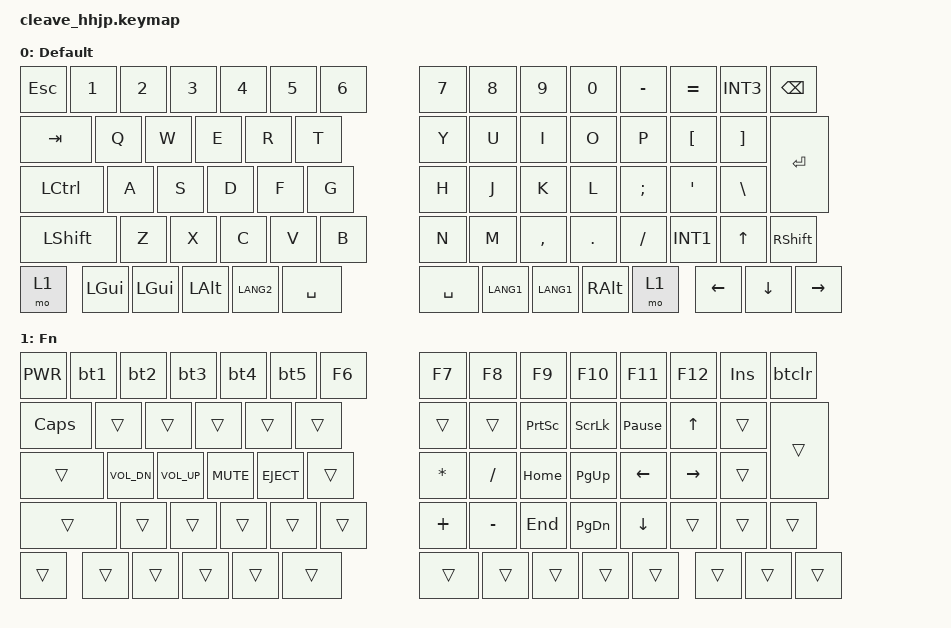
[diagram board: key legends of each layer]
/*
 * Copyright (c) 2025
 * SPDX-License-Identifier: MIT
 */

#include <behaviors.dtsi>
#include <dt-bindings/zmk/keys.h>
#include <dt-bindings/zmk/bt.h>

/ {
	chosen {
		zmk,physical-layout = &physical_layout;
	};

	key_physical_attrs: key_physical_attrs {
		compatible = "zmk,key-physical-attrs";
		#key-cells = <7>;
	};

	physical_layout: physical_layout {
		compatible = "zmk,physical-layout";
		display-name = "CLEAVE HHJP";

		transform = <&default_transform>;

		keys  // 70 keys: width, height, x, y, r, rx, ry (in centi-keyunits, 1U = 100)
			// Row 0: ESC + 6 keys (left) + gap 2U + 8 keys (right)
			= <&key_physical_attrs 100 100   0   0 0 0 0>  // ESC
			, <&key_physical_attrs 100 100 100   0 0 0 0>  // 1
			, <&key_physical_attrs 100 100 200   0 0 0 0>  // 2
			, <&key_physical_attrs 100 100 300   0 0 0 0>  // 3
			, <&key_physical_attrs 100 100 400   0 0 0 0>  // 4
			, <&key_physical_attrs 100 100 500   0 0 0 0>  // 5
			, <&key_physical_attrs 100 100 600   0 0 0 0>  // 6
			, <&key_physical_attrs 100 100 800   0 0 0 0>  // 7 (gap 2U = 200)
			, <&key_physical_attrs 100 100 900   0 0 0 0>  // 8
			, <&key_physical_attrs 100 100 1000  0 0 0 0>  // 9
			, <&key_physical_attrs 100 100 1100  0 0 0 0>  // 0
			, <&key_physical_attrs 100 100 1200  0 0 0 0>  // -
			, <&key_physical_attrs 100 100 1300  0 0 0 0>  // ^
			, <&key_physical_attrs 100 100 1400  0 0 0 0>  // ¥
			, <&key_physical_attrs 100 100 1500  0 0 0 0>  // BS
			// Row 1: Tab(1.5U) + 5 keys (left) + gap 2U + 7 keys + Enter(1.25U×2h) (right)
			, <&key_physical_attrs 150 100   0 100 0 0 0>  // Tab (1.5U = 150)
			, <&key_physical_attrs 100 100 150 100 0 0 0>  // Q
			, <&key_physical_attrs 100 100 250 100 0 0 0>  // W
			, <&key_physical_attrs 100 100 350 100 0 0 0>  // E
			, <&key_physical_attrs 100 100 450 100 0 0 0>  // R
			, <&key_physical_attrs 100 100 550 100 0 0 0>  // T
			, <&key_physical_attrs 100 100 800 100 0 0 0>  // Y (gap 2U)
			, <&key_physical_attrs 100 100 900 100 0 0 0>  // U
			, <&key_physical_attrs 100 100 1000 100 0 0 0> // I
			, <&key_physical_attrs 100 100 1100 100 0 0 0> // O
			, <&key_physical_attrs 100 100 1200 100 0 0 0> // P
			, <&key_physical_attrs 100 100 1300 100 0 0 0> // @
			, <&key_physical_attrs 100 100 1400 100 0 0 0> // [
			, <&key_physical_attrs 125 200 1500 100 0 0 0> // Enter (1.25U×2h)
			// Row 2: Ctrl(1.75U) + 5 keys (left) + gap 2U + 7 keys (right)
			, <&key_physical_attrs 175 100   0 200 0 0 0>  // Ctrl (1.75U = 175)
			, <&key_physical_attrs 100 100 175 200 0 0 0>  // A
			, <&key_physical_attrs 100 100 275 200 0 0 0>  // S
			, <&key_physical_attrs 100 100 375 200 0 0 0>  // D
			, <&key_physical_attrs 100 100 475 200 0 0 0>  // F
			, <&key_physical_attrs 100 100 575 200 0 0 0>  // G
			, <&key_physical_attrs 100 100 800 200 0 0 0>  // H (gap 2U)
			, <&key_physical_attrs 100 100 900 200 0 0 0>  // J
			, <&key_physical_attrs 100 100 1000 200 0 0 0> // K
			, <&key_physical_attrs 100 100 1100 200 0 0 0> // L
			, <&key_physical_attrs 100 100 1200 200 0 0 0> // ;
			, <&key_physical_attrs 100 100 1300 200 0 0 0> // :
			, <&key_physical_attrs 100 100 1400 200 0 0 0> // ]
			// Row 3: LShift(2U) + 5 keys (left) + gap 2U + 6 keys + Up + RShift (right)
			, <&key_physical_attrs 200 100   0 300 0 0 0>  // LShift (2U = 200)
			, <&key_physical_attrs 100 100 200 300 0 0 0>  // Z
			, <&key_physical_attrs 100 100 300 300 0 0 0>  // X
			, <&key_physical_attrs 100 100 400 300 0 0 0>  // C
			, <&key_physical_attrs 100 100 500 300 0 0 0>  // V
			, <&key_physical_attrs 100 100 600 300 0 0 0>  // B
			, <&key_physical_attrs 100 100 800 300 0 0 0>  // N (gap 2U)
			, <&key_physical_attrs 100 100 900 300 0 0 0>  // M
			, <&key_physical_attrs 100 100 1000 300 0 0 0> // <
			, <&key_physical_attrs 100 100 1100 300 0 0 0> // >
			, <&key_physical_attrs 100 100 1200 300 0 0 0> // /
			, <&key_physical_attrs 100 100 1300 300 0 0 0> // _
			, <&key_physical_attrs 100 100 1400 300 0 0 0> // Up
			, <&key_physical_attrs 100 100 1500 300 0 0 0> // RShift
			// Row 4: Fn + gap 0.25U + 4 keys + Space(1.25U) (left) + gap 2U + Space(1.25U) + 3 keys + gap 0.25U + 3 arrows (right)
			, <&key_physical_attrs 100 100   0 400 0 0 0>  // Fn
			, <&key_physical_attrs 100 100 125 400 0 0 0>  // Win (gap 0.25U = 25)
			, <&key_physical_attrs 100 100 225 400 0 0 0>  // Cmd
			, <&key_physical_attrs 100 100 325 400 0 0 0>  // Alt
			, <&key_physical_attrs 100 100 425 400 0 0 0>  // E/J
			, <&key_physical_attrs 125 100 525 400 0 0 0>  // Space L (1.25U = 125)
			, <&key_physical_attrs 125 100 800 400 0 0 0>  // Space R (gap 2U, 1.25U)
			, <&key_physical_attrs 100 100 925 400 0 0 0>  // E/J
			, <&key_physical_attrs 100 100 1025 400 0 0 0> // Kana
			, <&key_physical_attrs 100 100 1125 400 0 0 0> // Alt
			, <&key_physical_attrs 100 100 1225 400 0 0 0> // Fn
			, <&key_physical_attrs 100 100 1350 400 0 0 0> // Left (gap 0.25U)
			, <&key_physical_attrs 100 100 1450 400 0 0 0> // Down
			, <&key_physical_attrs 100 100 1550 400 0 0 0> // Right
			;
	};

	behaviors {
		bt1: bluetooth_morph_1 {
			compatible = "zmk,behavior-mod-morph";
			label = "BT_MORPH_1";
			#binding-cells = <0>;
			bindings = <&kp F1>, <&bt BT_SEL 0>;
			mods = <(MOD_LCTL|MOD_RCTL)>;
		};
		bt2: bluetooth_morph_2 {
			compatible = "zmk,behavior-mod-morph";
			label = "BT_MORPH_2";
			#binding-cells = <0>;
			bindings = <&kp F2>, <&bt BT_SEL 1>;
			mods = <(MOD_LCTL|MOD_RCTL)>;
		};
		bt3: bluetooth_morph_3 {
			compatible = "zmk,behavior-mod-morph";
			label = "BT_MORPH_3";
			#binding-cells = <0>;
			bindings = <&kp F3>, <&bt BT_SEL 2>;
			mods = <(MOD_LCTL|MOD_RCTL)>;
		};
		bt4: bluetooth_morph_4 {
			compatible = "zmk,behavior-mod-morph";
			label = "BT_MORPH_4";
			#binding-cells = <0>;
			bindings = <&kp F4>, <&bt BT_SEL 3>;
			mods = <(MOD_LCTL|MOD_RCTL)>;
		};
		bt5: bluetooth_morph_5 {
			compatible = "zmk,behavior-mod-morph";
			label = "BT_MORPH_5";
			#binding-cells = <0>;
			bindings = <&kp F5>, <&bt BT_SEL 4>;
			mods = <(MOD_LCTL|MOD_RCTL)>;
		};
		btclr: bluetooth_clear_morph {
			compatible = "zmk,behavior-mod-morph";
			label = "BT_CLR_MORPH";
			#binding-cells = <0>;
			bindings = <&kp DEL>, <&bt BT_CLR>;
			mods = <(MOD_LCTL|MOD_RCTL)>;
		};
	};

	keymap {
		compatible = "zmk,keymap";

		default_layer {
			label = "Default";
			bindings = <
    &kp ESC  &kp N1   &kp N2   &kp N3   &kp N4   &kp N5   &kp N6                               &kp N7   &kp N8   &kp N9   &kp N0   &kp MINUS &kp EQUAL &kp INT3 &kp BSPC
    &kp TAB  &kp Q    &kp W    &kp E    &kp R    &kp T                                         &kp Y    &kp U    &kp I    &kp O    &kp P    &kp LBKT &kp RBKT &kp RET
    &kp LCTRL &kp A   &kp S    &kp D    &kp F    &kp G                                         &kp H    &kp J    &kp K    &kp L    &kp SEMI &kp SQT  &kp BSLH
    &kp LSHFT &kp Z   &kp X    &kp C    &kp V    &kp B                                         &kp N    &kp M    &kp COMMA &kp DOT &kp FSLH &kp INT1 &kp UP  &kp RSHFT
    &mo 1    &kp LGUI &kp LGUI &kp LALT &kp LANG2 &kp SPACE                                     &kp SPACE &kp LANG1 &kp LANG1 &kp RALT &mo 1   &kp LEFT &kp DOWN &kp RIGHT
			>;
		};

		fn_layer {
			label = "Fn";
			bindings = <
    &kp C_PWR &bt1    &bt2     &bt3     &bt4     &bt5     &kp F6                               &kp F7   &kp F8   &kp F9   &kp F10  &kp F11  &kp F12  &kp INS  &btclr
    &kp CAPS &trans   &trans   &trans   &trans   &trans                                        &trans   &trans   &kp PSCRN &kp SLCK &kp PAUSE_BREAK &kp UP &trans &trans
    &trans   &kp C_VOL_DN &kp C_VOL_UP &kp C_MUTE &kp C_EJECT &trans                          &kp STAR &kp FSLH &kp HOME &kp PG_UP &kp LEFT &kp RIGHT &trans
    &trans   &trans   &trans   &trans   &trans   &trans                                        &kp PLUS &kp MINUS &kp END &kp PG_DN &kp DOWN &trans   &trans   &trans
    &trans   &trans   &trans   &trans   &trans   &trans                                        &trans   &trans   &trans   &trans   &trans   &trans   &trans   &trans
			>;
		};
	};
};
